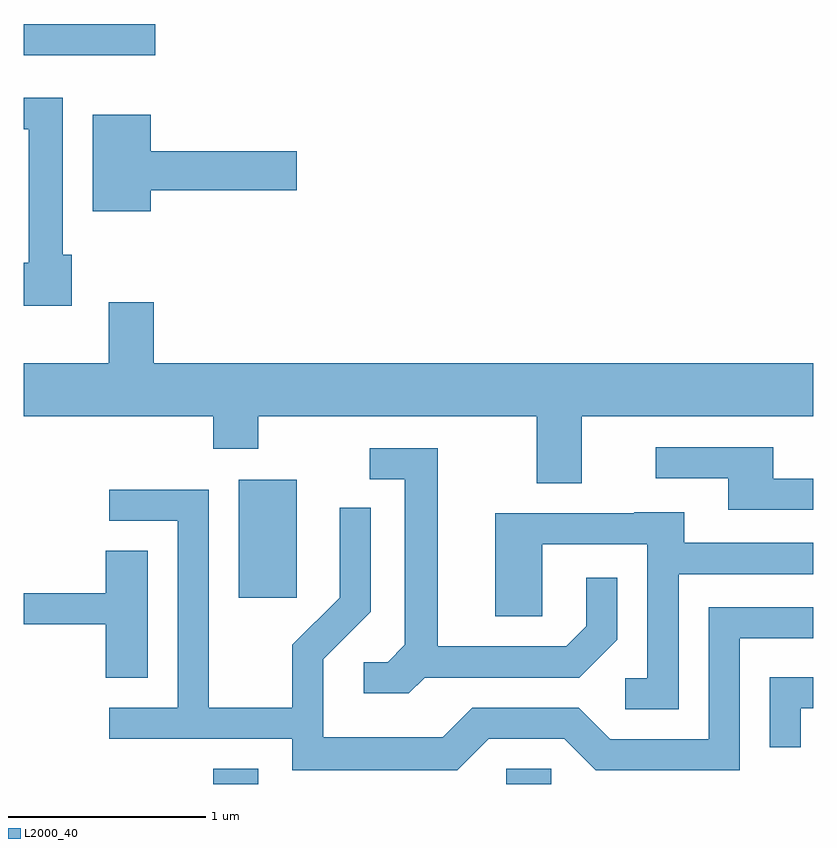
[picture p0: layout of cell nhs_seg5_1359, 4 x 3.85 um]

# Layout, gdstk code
import gdstk
lib = gdstk.Library(unit=1e-6, precision=1e-09)
def R(c, l, rs):  # rectangles x0, y0, x1, y1
    for r in rs: c.add(gdstk.rectangle(r[:2], r[2:], *l))
def P(c, l, *ps):  # polygons
    for p in ps: c.add(gdstk.Polygon(p, *l))
L2000_40 = (2000, 40)

nhs_seg5_1359 = lib.new_cell('nhs_seg5_1359')
R(nhs_seg5_1359, L2000_40, [(226.571,1426.072,226.799,1426.149), (228.056,1426.072,228.284,1426.149), (226.701,1427.016,226.994,1427.614), (225.611,1429.766,226.278,1429.924)])
P(nhs_seg5_1359, L2000_40, [(225.854,1428.754),(225.809,1428.754),(225.809,1429.549),(225.611,1429.549),(225.611,1429.391),(225.636,1429.391),(225.636,1428.714),(225.611,1428.714),(225.611,1428.496),(225.854,1428.496)],
  [(226.254,1429.081),(226.994,1429.081),(226.994,1429.279),(226.254,1429.279),(226.254,1429.464),(225.961,1429.464),(225.961,1428.976),(226.254,1428.976)],
  [(228.439,1427.936),(229.611,1427.936),(229.611,1428.204),(226.269,1428.204),(226.269,1428.514),(226.041,1428.514),(226.041,1428.204),(225.611,1428.204),(225.611,1427.936),(226.571,1427.936),(226.571,1427.771),(226.799,1427.771),(226.799,1427.936),(228.211,1427.936),(228.211,1427.596),(228.439,1427.596)],
  [(229.611,1427.619),(229.409,1427.619),(229.409,1427.779),(228.813,1427.779),(228.813,1427.621),(229.181,1427.621),(229.181,1427.461),(229.611,1427.461)],
  [(227.642,1426.611),(228.427,1426.611),(228.619,1426.804),(228.619,1427.118),(228.461,1427.118),(228.461,1426.872),(228.359,1426.769),(227.709,1426.769),(227.709,1427.774),(227.363,1427.774),(227.363,1427.616),(227.541,1427.616),(227.541,1426.777),(227.454,1426.689),(227.333,1426.689),(227.333,1426.531),(227.562,1426.531)],
  [(227.967,1426.301),(228.349,1426.301),(228.509,1426.141),(229.239,1426.141),(229.239,1426.811),(229.611,1426.811),(229.611,1426.969),(229.081,1426.969),(229.081,1426.299),(228.582,1426.299),(228.422,1426.459),(227.884,1426.459),(227.734,1426.309),(227.129,1426.309),(227.129,1426.704),(227.369,1426.944),(227.369,1427.473),(227.211,1427.473),(227.211,1427.017),(226.971,1426.777),(226.971,1426.459),(226.549,1426.459),(226.549,1427.564),(226.043,1427.564),(226.043,1427.406),(226.391,1427.406),(226.391,1426.459),(226.043,1426.459),(226.043,1426.301),(226.971,1426.301),(226.971,1426.141),(227.807,1426.141)],
  [(228.929,1427.136),(229.611,1427.136),(229.611,1427.294),(228.959,1427.294),(228.959,1427.449),(228.705,1427.449),(228.705,1427.444),(228.001,1427.444),(228.001,1426.921),(228.239,1426.921),(228.239,1427.286),(228.771,1427.286),(228.771,1426.609),(228.658,1426.609),(228.658,1426.451),(228.929,1426.451)],
  [(226.239,1427.254),(226.026,1427.254),(226.026,1427.039),(225.611,1427.039),(225.611,1426.881),(226.026,1426.881),(226.026,1426.611),(226.239,1426.611)],
  [(229.549,1426.456),(229.611,1426.456),(229.611,1426.614),(229.391,1426.614),(229.391,1426.258),(229.549,1426.258)])

lib.write_gds('nhs_seg5_1359.gds')
